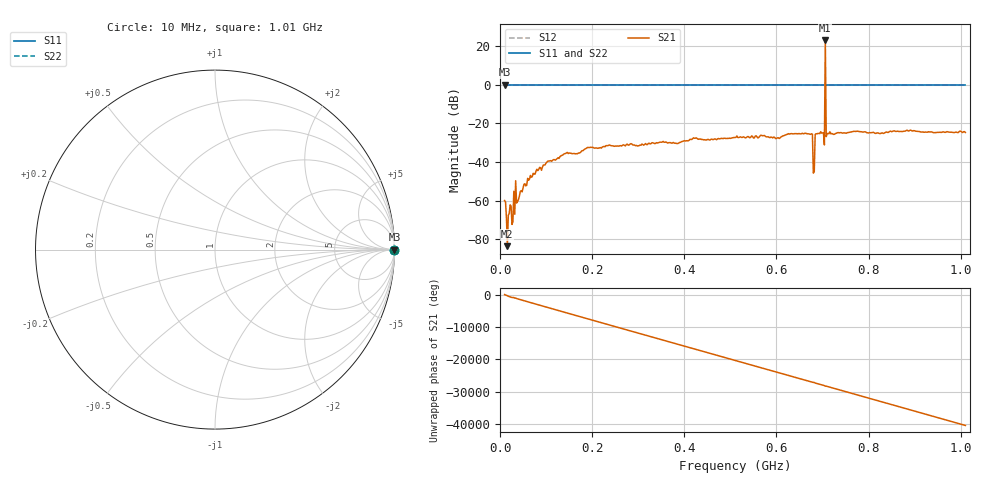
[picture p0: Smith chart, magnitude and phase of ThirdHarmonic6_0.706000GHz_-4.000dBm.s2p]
! 8/15/2025 11:35:07 PM
! C:\ANRITSUVNA\TEMP\TEMP.S2P
! CHANNEL.1
! TR.MEASUREMENT
! RAW.DATA
! RF.CORRECTION.OFF
! AVERAGING.OFF
! IF.BANDWIDTH: 5KHZ
! SWEEPTYPE:  FREQ.SWEEP(Linear)
! Reference Plane Port Info
! PORT:  PORT1  PORT2
! DISTANCE:  0  m  0  m
! TIME:  0  s  0  s
! PHASE.OFFSET:  0  deg.  0  deg.
! LOSS:  0  dB  0  dB
! REF.LOSS:  0  dB  0  dB
! REF.FREQ:  0  Hz  0  Hz
! Power Info
! POWER:  -20  dBm  -20  dBm
! EFF.POWER:  -20  dBm  -20  dBm
! SOURCE.ATTEN:  0  dB  0  dB
! TEST.ATTEN:  0  dB  0  dB
# GHZ S RI R 50.0
! FREQ.GHZ  S11RE  S11IM  S21RE  S21IM  S12RE  S12IM  S22RE  S22IM
!; PortSelection: Port_12
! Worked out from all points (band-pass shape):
!   501 points, 10 MHz to 1.01 GHz, reference 50 ohm
!   highest |S21| = 22.86 dB at 706 MHz (marker M1); lowest = -83.5 dB at 16 MHz (marker M2)
!   |S21| within 3 dB of the highest: 705.8889 MHz to 706.1207 MHz (231.8 kHz wide, 0.0328 % of centre)
!   lowest |S11| = 0.0 dB at 10 MHz (marker M3)
!   |S11| at or under -10 dB: nowhere
!   |S22| runs from 0.0 to 0.0 dB; largest |S21 - S12| = 14
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0.01  1 0  0.00101 8.91e-05  1 0  1 0
0.016  1 0  6.69e-05 -2.2e-06  1 0  1 0
0.028  1 0  -0.000275 8.51e-05  1 0  1 0
0.034  1 0  0.00328 0.000214  1 0  1 0
0.04  1 0  0.000841 0.00066  1 0  1 0
0.056  1 0  -0.000723 0.00231  1 0  1 0
0.082  1 0  -0.00279 0.00531  1 0  1 0
0.142  1 0  -0.0154 -0.00623  1 0  1 0
0.178  1 0  -0.0191 -0.00479  1 0  1 0
0.344  1 0  0.0309 -0.00694  1 0  1 0
0.51  1 0  -0.04 0.0158  1 0  1 0
0.674  1 0  0.0389 0.0343  1 0  1 0
0.678  1 0  -0.0234 -0.0471  1 0  1 0
0.684  1 0  0.0517 -0.00252  1 0  1 0
0.688  1 0  -0.0503 -0.0183  1 0  1 0
0.7  1 0  0.0132 0.055  1 0  1 0
0.702  1 0  0.0569 -0.00506  1 0  1 0
0.706  1 0  -5.775 12.64  1 0  1 0
0.71  1 0  0.0468 0.0273  1 0  1 0
0.712  1 0  0.0351 -0.042  1 0  1 0
0.844  1 0  0.0429 0.0417  1 0  1 0
1.01  1 0  -0.0567 -0.0131  1 0  1 0
